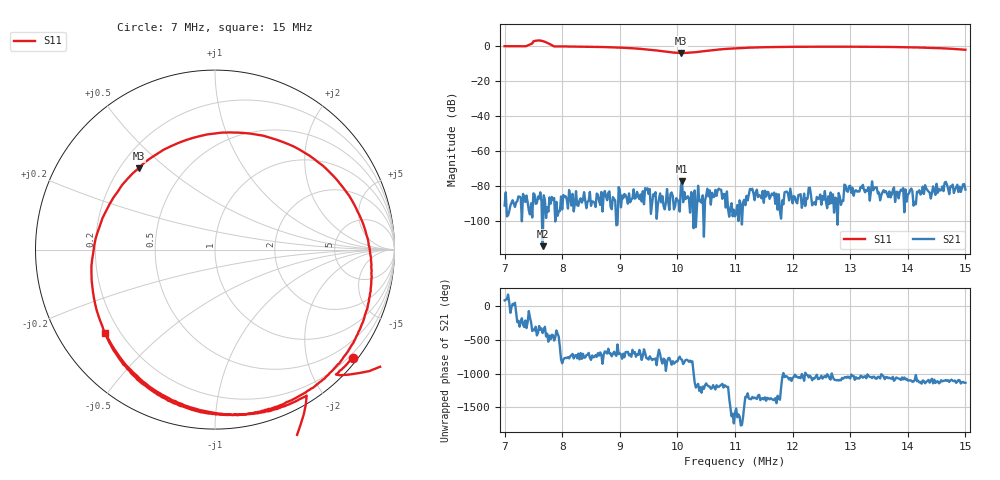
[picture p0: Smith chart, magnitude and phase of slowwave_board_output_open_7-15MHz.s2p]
! Measured S11/S21; S12/S22 are placeholders, NOT measurements. Calibration unverified.
! [Saver CAL applied] C:\Users\aknya\MyProjects\rf-simulator\calibration2.cal | Ideal standards assumed | Input: NanoVNA F V2 profile | COM3 | 2026-10-04T11:26:00.1421295-04:00 | device calibration unverified
# HZ S RI R 50
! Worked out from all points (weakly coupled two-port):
!   401 points, 7 MHz to 15 MHz, reference 50 ohm
!   highest |S21| = -77.20 dB at 10.08 MHz (marker M1); lowest = -114.5 dB at 7.66 MHz (marker M2)
!   lowest |S11| = -4.1 dB at 10.06 MHz (marker M3), VSWR 4.28, Z = 13.7 + j20.2 ohm
!   |S11| at or under -10 dB: nowhere
!   S12 and S22 are empty: the file has one direction only
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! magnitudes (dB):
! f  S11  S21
! 7 MHz  -0.2  -91.3
! 7.34 MHz  -0.3  -86.5
! 7.44 MHz  0.8  -96.4
! 7.54 MHz  2.9  -90.3
! 7.66 MHz  2.7  -114.5
! 7.88 MHz  -0.3  -100.4
! 8.34 MHz  -0.5  -89.6
! 9.14 MHz  -1.3  -90.2
! 9.68 MHz  -2.9  -87.6
! 10.02 MHz  -4.1  -88.8
! 10.06 MHz  -4.1  -80.3
! 10.08 MHz  -4.1  -77.2
! 10.14 MHz  -4.1  -87.6
! 11 MHz  -1.4  -97.5
! 12.34 MHz  -0.5  -91.1
! 13.32 MHz  -0.6  -80.8
! 13.34 MHz  -0.6  -88.5
! 13.68 MHz  -0.7  -83.2
! 14.58 MHz  -1.4  -82.5
! 14.64 MHz  -1.5  -78.2
! 14.72 MHz  -1.7  -84.8
! 15 MHz  -2.3  -82.1
